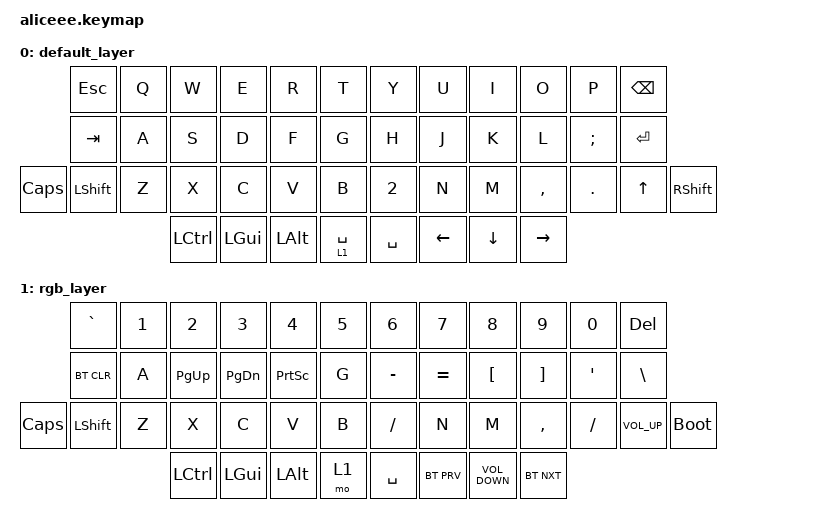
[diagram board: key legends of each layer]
/*
 * Copyright (c) 2021 Nick Winans
 *
 * SPDX-License-Identifier: MIT
 */

#include <behaviors.dtsi>
#include <dt-bindings/zmk/keys.h>
#include <dt-bindings/zmk/rgb.h>
#include <dt-bindings/zmk/bt.h>
#include <dt-bindings/zmk/outputs.h>
#include <dt-bindings/zmk/ext_power.h>

/ {
	keymap {
		compatible = "zmk,keymap";
		default_layer {
			 bindings = <
	&kp ESC  &kp Q  &kp W  &kp E  &kp R  &kp T  &kp Y  &kp U  &kp I  &kp O  &kp P  &kp BSPC 
	&kp TAB  &kp A  &kp S  &kp D  &kp F  &kp G  &kp H  &kp J  &kp K  &kp L  &kp SEMI &kp RET 
	&kp CAPS   &kp LSHIFT &kp Z  &kp X  &kp C  &kp V  &kp B &kp N2 &kp N  &kp M  &kp COMMA &kp DOT &kp UP  &kp RSHFT
	&kp LCTRL &kp LGUI  &kp LALT    &lt 1 SPACE &kp SPACE  &kp LEFT  &kp DOWN   &kp RIGHT
			>;
		};
		rgb_layer {
			bindings = <
	&kp GRAVE  &kp N1  &kp N2  &kp N3  &kp N4  &kp N5  &kp N6  &kp N7  &kp N8  &kp N9  &kp N0   &kp DELETE
	&bt BT_CLR  &kp A  &kp PAGE_UP  &kp PAGE_DOWN  &kp PSCRN  &kp G  &kp MINUS  &kp EQUAL  &kp LBKT  &kp RBKT  &kp SQT  &kp BSLH 
	&kp CAPS   &kp LSHIFT &kp Z  &kp X  &kp C  &kp V  &kp B &kp FSLH &kp N  &kp M  &kp COMMA &kp FSLH &kp C_VOL_UP  &bootloader
	&kp LCTRL &kp LGUI &kp LALT   &mo 1  &kp SPACE  &bt BT_PRV  &kp C_VOLUME_DOWN   &bt BT_NXT 
			>;
		};
	};
};
